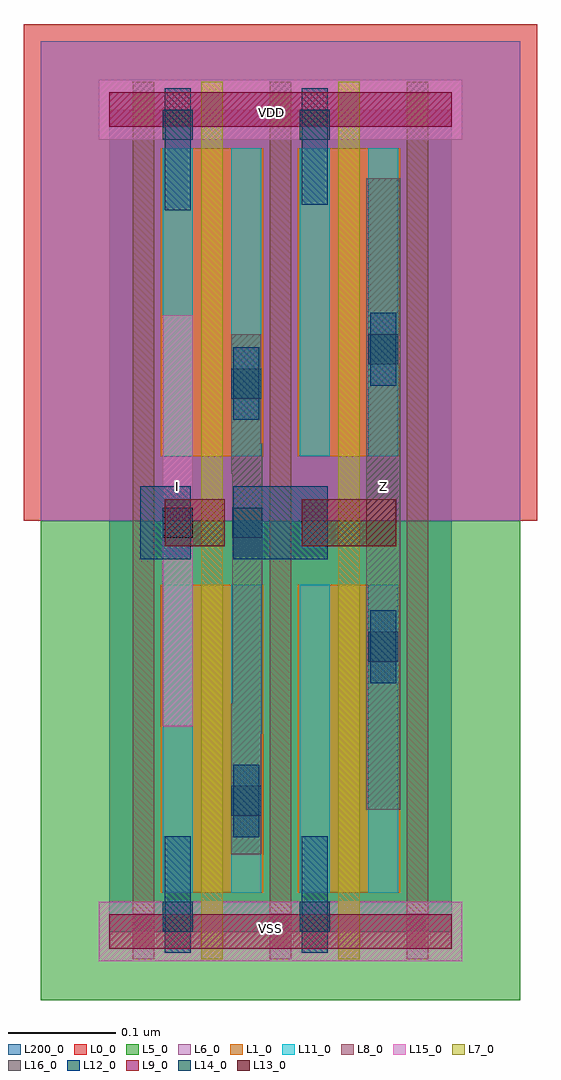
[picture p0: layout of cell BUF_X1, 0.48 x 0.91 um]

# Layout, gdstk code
import gdstk
lib = gdstk.Library(unit=1e-6, precision=1e-09)
def R(c, l, rs):  # rectangles x0, y0, x1, y1
    for r in rs: c.add(gdstk.rectangle(r[:2], r[2:], *l))
def A(c, l, x, y, w, h, nx, ny, dx, dy):  # array of equal rectangles
    R(c, l, [(x+i*dx, y+j*dy, x+i*dx+w, y+j*dy+h) for i in range(nx) for j in range(ny)])
def P(c, l, *ps):  # polygons
    for p in ps: c.add(gdstk.Polygon(p, *l))
L0_0 = (0, 0)
L1_0 = (1, 0)
L5_0 = (5, 0)
L6_0 = (6, 0)
L7_0 = (7, 0)
L8_0 = (8, 0)
L9_0 = (9, 0)
L11_0 = (11, 0)
L12_0 = (12, 0)
L13_0 = (13, 0)
L14_0 = (14, 0)
L15_0 = (15, 0)
L16_0 = (16, 0)
L200_0 = (200, 0)

buf_x1 = lib.new_cell('BUF_X1')
R(buf_x1, L0_0, [(-0.08,0.384,0.4,0.848)])
R(buf_x1, L1_0, [(0.048,0.036,0.144,0.324), (0.176,0.036,0.272,0.324), (0.048,0.444,0.144,0.732), (0.176,0.444,0.272,0.732)])
R(buf_x1, L5_0, [(-0.064,-0.064,0.384,0.384)])
R(buf_x1, L6_0, [(-0.064,0.384,0.384,0.832)])
R(buf_x1, L7_0, [(0.086,-0.026,0.106,0.794), (0.214,-0.026,0.234,0.794)])
A(buf_x1, L8_0, 0.022, -0.026, 0.02, 0.82, 3, 1, 0.128, 0)
R(buf_x1, L9_0, [(0,-0.016,0.32,0.016), (0,0.752,0.32,0.784)])
A(buf_x1, L11_0, 0.05, 0.036, 0.028, 0.288, 4, 2, 0.064, 0.408)
R(buf_x1, L12_0, [(0.052,-0.02,0.076,0.089), (0.18,-0.02,0.204,0.089), (0.116,0.088,0.14,0.156), (0.244,0.232,0.268,0.3), (0.029,0.348,0.076,0.416), (0.116,0.348,0.204,0.416), (0.116,0.478,0.14,0.546), (0.244,0.51,0.268,0.578), (0.052,0.674,0.076,0.788), (0.18,0.679,0.204,0.788)])
R(buf_x1, L13_0, [(0.052,0.36,0.108,0.404), (0.18,0.36,0.268,0.404)])
R(buf_x1, L14_0, [(0.05,0,0.078,0.028), (0.178,0,0.206,0.028), (0.114,0.108,0.142,0.136), (0.242,0.252,0.27,0.28), (0.05,0.368,0.078,0.396), (0.115,0.368,0.143,0.396), (0.114,0.498,0.142,0.526), (0.242,0.53,0.27,0.558), (0.05,0.74,0.078,0.768), (0.178,0.74,0.206,0.768)])
R(buf_x1, L15_0, [(-0.01,-0.028,0.33,0.028), (0.05,0.192,0.078,0.576), (-0.01,0.74,0.33,0.796)])
R(buf_x1, L16_0, [(0.24,0.114,0.272,0.704)])
P(buf_x1, L16_0, [(0.114,0.428),(0.115,0.428),(0.115,0.213),(0.114,0.213),(0.114,0.072),(0.142,0.072),(0.142,0.185),(0.143,0.185),(0.143,0.456),(0.142,0.456),(0.142,0.558),(0.114,0.558)])
R(buf_x1, L200_0, [(0,0,0.32,0.768)])
buf_x1.add(gdstk.Label('VSS', (0.151,0.003), layer=15, texttype=20))
buf_x1.add(gdstk.Label('I', (0.064,0.416), layer=15, texttype=20))
buf_x1.add(gdstk.Label('VDD', (0.152,0.765), layer=15, texttype=20))
buf_x1.add(gdstk.Label('Z', (0.256,0.416), layer=16, texttype=20))

lib.write_gds('BUF_X1.gds')
